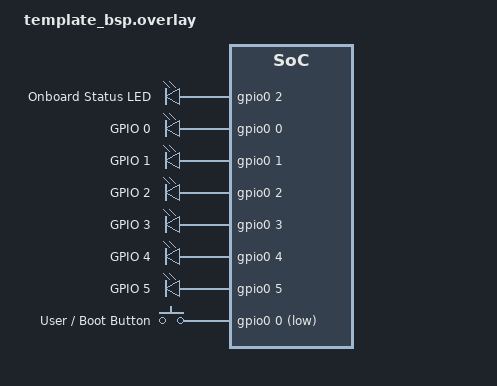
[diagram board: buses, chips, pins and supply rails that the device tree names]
/*
 * Copyright (c) 2024 - 2026 MeshX
 * SPDX-License-Identifier: Apache-2.0
 *
 * Board-specific DeviceTree IO Overlay Template for a new BSP.
 * Defines board-fixed peripherals (Status LED, Boot Button) and exposes
 * breakout pins generically by GPIO number.
 * Copy to port/bsp/<your_bsp>/<your_bsp>.overlay and adjust the pin numbers.
 */

/ {
	aliases {
		led0 = &status_led;
		sw0 = &user_button;

		/* Generic GPIO pin aliases */
		gpio0 = &pin_gpio0;
		gpio1 = &pin_gpio1;
		gpio2 = &pin_gpio2;
		gpio3 = &pin_gpio3;
		gpio4 = &pin_gpio4;
		gpio5 = &pin_gpio5;
	};

	leds {
		compatible = "gpio-leds";

		status_led: led_0 {
			gpios = <&gpio0 2 GPIO_ACTIVE_HIGH>;
			label = "Onboard Status LED";
		};

		/* Generic Breakout GPIO Pin Nodes */
		pin_gpio0: gpio_0 {
			gpios = <&gpio0 0 GPIO_ACTIVE_HIGH>;
			label = "GPIO 0";
		};

		pin_gpio1: gpio_1 {
			gpios = <&gpio0 1 GPIO_ACTIVE_HIGH>;
			label = "GPIO 1";
		};

		pin_gpio2: gpio_2 {
			gpios = <&gpio0 2 GPIO_ACTIVE_HIGH>;
			label = "GPIO 2";
		};

		pin_gpio3: gpio_3 {
			gpios = <&gpio0 3 GPIO_ACTIVE_HIGH>;
			label = "GPIO 3";
		};

		pin_gpio4: gpio_4 {
			gpios = <&gpio0 4 GPIO_ACTIVE_HIGH>;
			label = "GPIO 4";
		};

		pin_gpio5: gpio_5 {
			gpios = <&gpio0 5 GPIO_ACTIVE_HIGH>;
			label = "GPIO 5";
		};
	};

	gpio_keys {
		compatible = "gpio-keys";

		user_button: button_user {
			label = "User / Boot Button";
			gpios = <&gpio0 0 (GPIO_PULL_UP | GPIO_ACTIVE_LOW)>;
		};
	};
};
